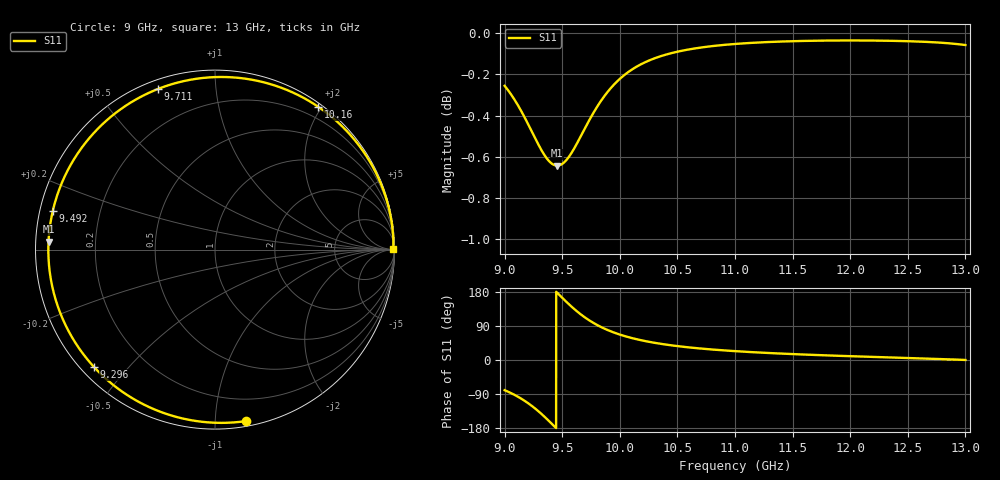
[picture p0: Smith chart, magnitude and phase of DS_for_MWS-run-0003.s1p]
! TOUCHSTONE file generated by CST DESIGN STUDIO
! Date and time: Tue Feb  4 12:46:48 2025
! Project name: C:\Work\MatlabApps\UnitCellOptimizationMatlab\CST\unitcell.cst
! Tree item: Tasks\Sweep1\SPara1\S-Parameters
! Header version: 2024
! Port assignment regex: !\s*Touchstone port\s*([0-9]+)\s*=\s*(CST MWS port|CST DES external port|CST DES block port)\s*(.+)\s* \(\"(.*)\"\)(\s*mode\s*([0-9]+))?.*
! Touchstone port assignment:
! Touchstone port 1 = CST DES external port 1 ("")
# GHz S MA R 50
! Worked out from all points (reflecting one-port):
!   4001 points, 9 GHz to 13 GHz, reference 50 ohm
!   lowest |S11| = -0.6 dB at 9.457 GHz (marker M1), VSWR 27.00, Z = 1.85 + j1.21 ohm
!   phase of S11 starts at -80 deg and turns -280 deg over the sweep
!   S11 on the Smith chart (normalised r, x): 9 GHz: 0.04, -1.20; 9.296 GHz: 0.04, -0.40; 9.492 GHz: 0.04, +0.12; 9.711 GHz: 0.04, +0.71; 10.16 GHz: 0.04, +1.96; 13 GHz: open
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9  0.971 -79.7
9.093  0.9628 -93.1
9.167  0.9548 -106.3
9.233  0.9468 -120.4
9.296  0.9393 -135.9
9.338  0.9348 -147.3
9.382  0.9312 -160.1
9.42  0.9292 -171.5
9.457  0.9286 177.2
9.492  0.9292 166.6
9.5  0.9295 164.1
9.549  0.9324 149.7
9.607  0.9379 133.8
9.658  0.9436 121.2
9.711  0.9498 109.4
9.767  0.956 98.6
9.83  0.9622 88.1
9.913  0.9691 76.7
10  0.9748 67.1
10.156  0.9818 54.1
10.312  0.9863 44.8
10.5  0.9897 36.7
10.722  0.9922 29.7
11  0.994 23.4
11.5  0.9956 15.6
12  0.996 10.0
12.5  0.9955 5.3
13  0.9934 0.1
